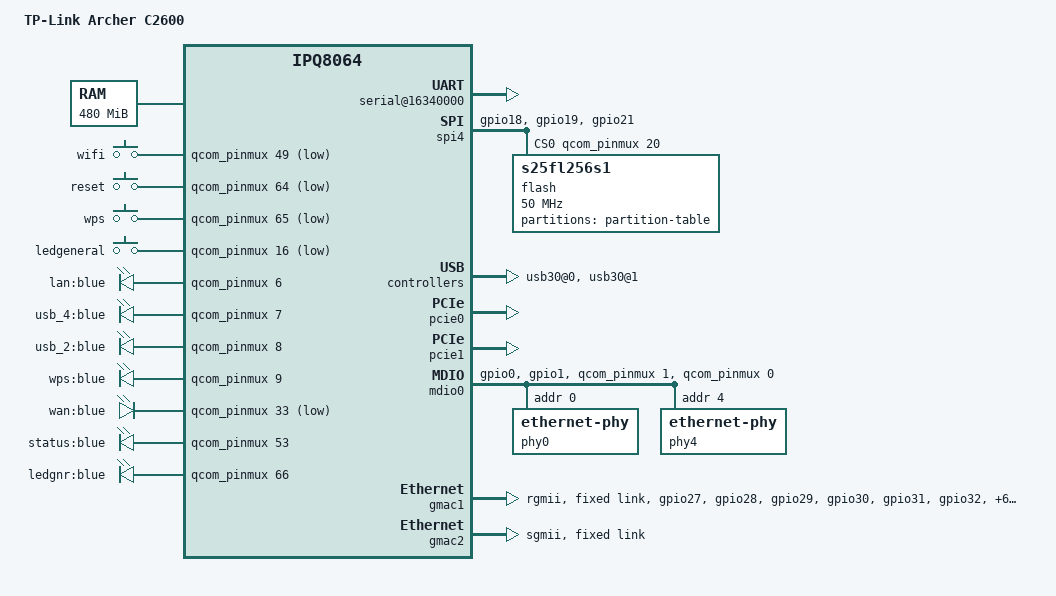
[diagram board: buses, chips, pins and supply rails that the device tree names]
#include "qcom-ipq8064-v1.0.dtsi"
#include <dt-bindings/input/input.h>

/ {
	model = "TP-Link Archer C2600";
	compatible = "tplink,c2600", "qcom,ipq8064";

	memory@0 {
		reg = <0x42000000 0x1e000000>;
		device_type = "memory";
	};

	reserved-memory {
		#address-cells = <1>;
		#size-cells = <1>;
		ranges;
		rsvd@41200000 {
			reg = <0x41200000 0x300000>;
			no-map;
		};
	};

	aliases {
		serial0 = &uart4;
		mdio-gpio0 = &mdio0;
	};

	chosen {
		linux,stdout-path = "serial0:115200n8";
	};

	soc {
		pinmux@800000 {
			i2c4_pins: i2c4_pinmux {
				pins = "gpio12", "gpio13";
				function = "gsbi4";
				bias-disable;
			};

			spi_pins: spi_pins {
				mux {
					pins = "gpio18", "gpio19", "gpio21";
					function = "gsbi5";
					drive-strength = <10>;
					bias-none;
				};
			};

			nand_pins: nand_pins {
				mux {
					pins = "gpio34", "gpio35", "gpio36",
					       "gpio37", "gpio38", "gpio39",
					       "gpio40", "gpio41", "gpio42",
					       "gpio43", "gpio44", "gpio45",
					       "gpio46", "gpio47";
					function = "nand";
					drive-strength = <10>;
					bias-disable;
				};

				pullups {
					pins = "gpio39";
					bias-pull-up;
				};

				hold {
					pins = "gpio40", "gpio41", "gpio42",
					       "gpio43", "gpio44", "gpio45",
					       "gpio46", "gpio47";
					bias-bus-hold;
				};
			};

			mdio0_pins: mdio0_pins {
				mux {
					pins = "gpio0", "gpio1";
					function = "gpio";
					drive-strength = <8>;
					bias-disable;
				};
			};

			rgmii2_pins: rgmii2_pins {
				mux {
					pins = "gpio27", "gpio28", "gpio29", "gpio30", "gpio31", "gpio32",
					       "gpio51", "gpio52", "gpio59", "gpio60", "gpio61", "gpio62" ;
					function = "rgmii2";
					drive-strength = <8>;
					bias-disable;
				};
			};
		};

		gsbi@16300000 {
			qcom,mode = <GSBI_PROT_I2C_UART>;
			status = "ok";
			serial@16340000 {
				status = "ok";
			};
			/*
			 * The i2c device on gsbi4 should not be enabled.
			 * On ipq806x designs gsbi4 i2c is meant for exclusive
			 * RPM usage. Turning this on in kernel manifests as
			 * i2c failure for the RPM.
			 */
		};

		gsbi5: gsbi@1a200000 {
			qcom,mode = <GSBI_PROT_SPI>;
			status = "ok";

			spi4: spi@1a280000 {
				status = "ok";
				spi-max-frequency = <50000000>;

				pinctrl-0 = <&spi_pins>;
				pinctrl-names = "default";

				cs-gpios = <&qcom_pinmux 20 0>;

				flash: m25p80@0 {
					compatible = "s25fl256s1";
					#address-cells = <1>;
					#size-cells = <1>;
					spi-max-frequency = <50000000>;
					reg = <0>;

					SBL1@0 {
						label = "SBL1";
						reg = <0x0 0x20000>;
						read-only;
					};
					MIBIB@20000 {
						label = "MIBIB";
						reg = <0x20000 0x20000>;
						read-only;
					};
					SBL2@40000 {
						label = "SBL2";
						reg = <0x40000 0x20000>;
						read-only;
					};
					SBL3@60000 {
						label = "SBL3";
						reg = <0x60000 0x30000>;
						read-only;
					};
					DDRCONFIG@90000 {
						label = "DDRCONFIG";
						reg = <0x90000 0x10000>;
						read-only;
					};
					SSD@a0000 {
						label = "SSD";
						reg = <0xa0000 0x10000>;
						read-only;
					};
					TZ@b0000 {
						label = "TZ";
						reg = <0xb0000 0x30000>;
						read-only;
					};
					RPM@e0000 {
						label = "RPM";
						reg = <0xe0000 0x20000>;
						read-only;
					};
					fs-uboot@100000 {
						label = "fs-uboot";
						reg = <0x100000 0x70000>;
						read-only;
					};
					uboot-env@170000 {
						label = "uboot-env";
						reg = <0x170000 0x40000>;
						read-only;
					};
					radio@1b0000 {
						label = "radio";
						reg = <0x1b0000 0x40000>;
						read-only;
					};
					os-image@1f0000 {
						label = "os-image";
						reg = <0x1f0000 0x200000>;
					};
					rootfs@3f0000 {
						label = "rootfs";
						reg = <0x3f0000 0x1b00000>;
					};
					defaultmac: default-mac@1ef0000 {
						label = "default-mac";
						reg = <0x1ef0000 0x00200>;
						read-only;
					};
					pin@1ef0200 {
						label = "pin";
						reg = <0x1ef0200 0x00200>;
						read-only;
					};
					product-info@1ef0400 {
						label = "product-info";
						reg = <0x1ef0400 0x0fc00>;
						read-only;
					};
					partition-table@1f00000 {
						label = "partition-table";
						reg = <0x1f00000 0x10000>;
						read-only;
					};
					soft-version@1f10000 {
						label = "soft-version";
						reg = <0x1f10000 0x10000>;
						read-only;
					};
					support-list@1f20000 {
						label = "support-list";
						reg = <0x1f20000 0x10000>;
						read-only;
					};
					profile@1f30000 {
						label = "profile";
						reg = <0x1f30000 0x10000>;
						read-only;
					};
					default-config@1f40000 {
						label = "default-config";
						reg = <0x1f40000 0x10000>;
						read-only;
					};
					user-config@1f50000 {
						label = "user-config";
						reg = <0x1f50000 0x40000>;
						read-only;
					};
					qos-db@1f90000 {
						label = "qos-db";
						reg = <0x1f90000 0x40000>;
						read-only;
					};
					usb-config@1fd0000 {
						label = "usb-config";
						reg = <0x1fd0000 0x10000>;
						read-only;
					};
					log@1fe0000 {
						label = "log";
						reg = <0x1fe0000 0x20000>;
						read-only;
					};
				};
			};
		};

		phy@100f8800 {		/* USB3 port 1 HS phy */
			status = "ok";
		};

		phy@100f8830 {		/* USB3 port 1 SS phy */
			status = "ok";
		};

		phy@110f8800 {		/* USB3 port 0 HS phy */
			status = "ok";
		};

		phy@110f8830 {		/* USB3 port 0 SS phy */
			status = "ok";
		};

		usb30@0 {
			status = "ok";
		};

		usb30@1 {
			status = "ok";
		};

		pcie0: pci@1b500000 {
			status = "ok";
			phy-tx0-term-offset = <7>;
		};

		pcie1: pci@1b700000 {
			status = "ok";
			phy-tx0-term-offset = <7>;
		};

		mdio0: mdio {
			compatible = "virtual,mdio-gpio";
			#address-cells = <1>;
			#size-cells = <0>;
			gpios = <&qcom_pinmux 1 0 &qcom_pinmux 0 0>;
			pinctrl-0 = <&mdio0_pins>;
			pinctrl-names = "default";

			phy0: ethernet-phy@0 {
				device_type = "ethernet-phy";
				reg = <0>;
				qca,ar8327-initvals = <
					0x00004 0x7600000   /* PAD0_MODE */
					0x00008 0x1000000   /* PAD5_MODE */
					0x0000c 0x80        /* PAD6_MODE */
					0x000e4 0x6a545     /* MAC_POWER_SEL */
					0x000e0 0xc74164de  /* SGMII_CTRL */
					0x0007c 0x4e        /* PORT0_STATUS */
					0x00094 0x4e        /* PORT6_STATUS */
					>;
			};

			phy4: ethernet-phy@4 {
				device_type = "ethernet-phy";
				reg = <4>;
			};
		};

		gmac1: ethernet@37200000 {
			status = "ok";
			phy-mode = "rgmii";
			qcom,id = <1>;

			pinctrl-0 = <&rgmii2_pins>;
			pinctrl-names = "default";

			mtd-mac-address = <&defaultmac 0x8>;
			mtd-mac-address-increment = <1>;

			fixed-link {
				speed = <1000>;
				full-duplex;
			};
		};

		gmac2: ethernet@37400000 {
			status = "ok";
			phy-mode = "sgmii";
			qcom,id = <2>;

			mtd-mac-address = <&defaultmac 0x8>;

			fixed-link {
				speed = <1000>;
				full-duplex;
			};
		};
	};

	gpio-keys {
		compatible = "gpio-keys";

		wifi {
			label = "wifi";
			gpios = <&qcom_pinmux 49 1>;
			linux,code = <KEY_WLAN>;
		};

		reset {
			label = "reset";
			gpios = <&qcom_pinmux 64 1>;
			linux,code = <KEY_RESTART>;
		};

		wps {
			label = "wps";
			gpios = <&qcom_pinmux 65 1>;
			linux,code = <KEY_WPS_BUTTON>;
		};
                ledgeneral {
			label = "ledgeneral";
			gpios = <&qcom_pinmux 16 1>;
			linux,code = <KEY_DOLLAR>;
		};
	};

	gpio-leds {
		compatible = "gpio-leds";

		lan {
			label = "lan:blue";
			gpios = <&qcom_pinmux 6 0>;
		};
                usb4 {
			label = "usb_4:blue";
			gpios = <&qcom_pinmux 7 0>;
		};
                usb2 {
			label = "usb_2:blue";
			gpios = <&qcom_pinmux 8 0>;
		};
                wps {
			label = "wps:blue";
			gpios = <&qcom_pinmux 9 0>;
		};
                wan_blue {
			label = "wan:blue";
			gpios = <&qcom_pinmux 33 1>;
		};
                status {
			label = "status:blue";
			gpios = <&qcom_pinmux 53 0>;
			default-state = "on";
		};
                ledgnr {
			label = "ledgnr:blue";
			gpios = <&qcom_pinmux 66 0>;
		};
        };
};

&adm_dma {
	status = "ok";
};
